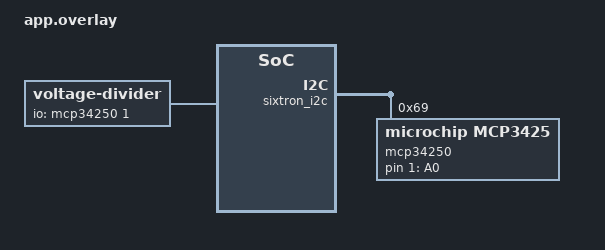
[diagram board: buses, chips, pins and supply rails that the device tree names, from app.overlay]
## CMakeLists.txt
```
# Copyright (c) CATIE 2023
# SPDX-License-Identifier: Apache-2.0

cmake_minimum_required(VERSION 3.20.0)
find_package(Zephyr REQUIRED HINTS $ENV{ZEPHYR_BASE})
project(mcp3425_example)

target_sources(app PRIVATE src/main.c)
```

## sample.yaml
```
sample:
  name: MCP3425 ADC sensor sample
tests:
  sample.default:
    tags: adc
    integration_platforms:
      - zest_core_stm32l4a6rg
    depends_on: i2c
```

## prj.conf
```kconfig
CONFIG_STDOUT_CONSOLE=y
CONFIG_CBPRINTF_FP_SUPPORT=y

CONFIG_LOG=y
CONFIG_LOG_MODE_IMMEDIATE=y
CONFIG_LOG_DEFAULT_LEVEL=4

CONFIG_GPIO=y
CONFIG_I2C=y
CONFIG_ADC=y
CONFIG_SENSOR=y
```

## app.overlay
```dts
/*
 * Copyright (c) CATIE 2023
 * SPDX-License-Identifier: Apache-2.0
 *
 * Overlay to use with the Zest_Actuator_HalfBridges board.
 * The MCP3425 will be available from the sixtron i2c bus.
 */

#include <zephyr/dt-bindings/adc/adc.h>

&sixtron_i2c {
    status = "okay";

    mcp34250: mcp3425@69 {
        compatible = "microchip,mcp3425";
        status = "okay";
        reg = <0x69>;
        //one_shot_mode; // uncomment if you want to use one shot mode instead of continuous mode.

        #io-channel-cells = <1>;
        #address-cells = <1>;
        #size-cells = <0>;

        channel@1 {
            reg = <0x01>;
            zephyr,gain = "ADC_GAIN_1";
            zephyr,reference = "ADC_REF_INTERNAL";
            zephyr,vref-mv = <2048>;
            zephyr,acquisition-time = <ADC_ACQ_TIME_DEFAULT>;
            zephyr,resolution = <12>;
        };
    };
};

/ {
    zephyr,user {
        io-channels = <&mcp34250 1>;
        io-channel-names = "A0";
    };

    voltage: voltage_divider {
        compatible = "voltage-divider";
        io-channels = <&mcp34250 1>;
        full-ohms = <(3000 + 91000)>;
        output-ohms = <3000>;
    };
};
```

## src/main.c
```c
/*
 * Copyright (c) 2016 Intel Corporation
 *
 * SPDX-License-Identifier: Apache-2.0
 */

#include <zephyr/kernel.h>
#include <zephyr/logging/log.h>
#include <zephyr/drivers/gpio.h>
#include <zephyr/drivers/adc/voltage_divider.h>

/* 1000 msec = 1 sec */
#define SLEEP_TIME_MS 2000

/* The devicetree node identifier for the "mcp3425" label */
#define MCP3425_NODE DT_NODELABEL(mcp3425)

/*
 * A build error on this line means your board is unsupported.
 * See the sample documentation for information on how to fix this.
 */
static const struct adc_dt_spec adc_channel =
	ADC_DT_SPEC_GET_BY_NAME(DT_PATH(zephyr_user), mcp3425_vin);
static const struct voltage_divider_dt_spec voltage_spec =
	VOLTAGE_DIVIDER_DT_SPEC_GET(DT_NODELABEL(voltage));

int main(void)
{
	int ret;
	uint16_t buf;
	int32_t val_mv = 0;
	struct adc_sequence sequence = {
		.buffer = &buf,
		/* buffer size in bytes, not number of samples */
		.buffer_size = sizeof(buf),
	};

	if (!adc_is_ready_dt(&adc_channel)) {
		printf("Device %s is not ready.\n", adc_channel.dev->name);
		return 0;
	}

	ret = adc_channel_setup_dt(&adc_channel);
	if (ret != 0) {
		printf("sensor_sample_fetch error: %d\n", ret);
	}
	printk("ADC ref internal: %d\n", adc_ref_internal(adc_channel.dev));
	printk("ADC gain: %d\n", adc_channel.channel_cfg.gain);
	printk("ADC resolution: %d\n", adc_channel.resolution);
	int test = 1000; /* 1000mV */
	adc_gain_invert(adc_channel.channel_cfg.gain, &test);
	printk("ADC invertGain: %d\n", test);

	while (1) {
		(void)adc_sequence_init_dt(&adc_channel, &sequence);
		ret = adc_read_dt(&adc_channel, &sequence);

		if (ret != 0) {
			printf("sensor_channel_get error: %d\n", ret);
			break;
		}
		val_mv = (int32_t)buf;
		printk("RAW value: %d\n", val_mv);

		ret = adc_raw_to_millivolts_dt(&adc_channel, &val_mv);
		if (ret < 0) {
			printf("Raw to millivolts conversion error: %d\n", ret);
		} else {
			printk("ADC value: %d mV\n", val_mv);
			voltage_divider_scale_dt(&voltage_spec, &val_mv);
			printk("FULL value: %d mV\n", val_mv);
		}

		k_sleep(K_SECONDS(5));
	}
	return 0;
}
```
